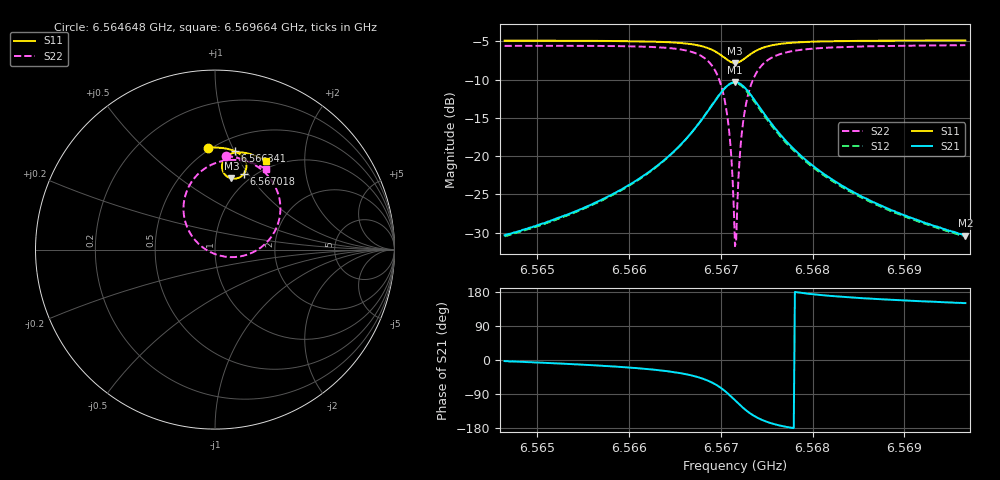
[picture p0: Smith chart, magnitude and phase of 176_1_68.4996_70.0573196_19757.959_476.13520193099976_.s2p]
#  HZ  S  RI  R  50.00
! Rohde & Schwarz Vector Network Analyzer
! Rohde-Schwarz,ZNB20-2Port,1311601062101988,3.16
! Created: UTC 3/20/2024, 5:11:38 PM
! freq[Hz]  re:S11  im:S11  re:S21  im:S21  re:S12  im:S12  re:S22  im:S22
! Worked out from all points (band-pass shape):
!   401 points, 6.564648 GHz to 6.569664 GHz, reference 50 ohm
!   highest |S21| = -10.33 dB at 6.567156 GHz (marker M1); lowest = -30.4 dB at 6.569664 GHz (marker M2)
!   |S21| within 3 dB of the highest: 6.566907 GHz to 6.567408 GHz (500.5 kHz wide, 0.00762 % of centre)
!   lowest |S11| = -7.8 dB at 6.567156 GHz (marker M3), VSWR 2.37, Z = 42.5 + j40.4 ohm
!   |S11| at or under -10 dB: nowhere
!   |S22| runs from -31.8 to -5.5 dB; largest |S21 - S12| = 0.015
!   S11 on the Smith chart (normalised r, x): 6.564648 GHz: 0.48, +0.81; 6.566341 GHz: 0.63, +1.01; 6.567018 GHz: 0.90, +0.95; 6.569664 GHz: 0.89, +1.31
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6.5646484e9  -0.0404 0.5678  0.0303 -0.00149  0.0297 -0.00202  0.0608 0.5227
6.5654885e9  0.0297 0.5669  0.0443 -0.00961  0.0436 -0.0102  0.1438 0.5062
6.5663287e9  0.1114 0.548  0.0787 -0.04  0.0775 -0.041  0.2639 0.4419
6.5663412e9  0.1128 0.5474  0.0795 -0.0411  0.0784 -0.042  0.2664 0.4399
6.5666171e9  0.1464 0.5256  0.1021 -0.0777  0.1006 -0.0792  0.3266 0.3678
6.5668177e9  0.1703 0.4902  0.1154 -0.1393  0.1127 -0.1422  0.3637 0.2491
6.5669306e9  0.1741 0.4553  0.1038 -0.2006  0.0985 -0.2045  0.3466 0.1323
6.5670184e9  0.16 0.4213  0.0624 -0.2588  0.0532 -0.2622  0.2704 0.0236
6.567056e9  0.1463 0.4081  0.0309 -0.2805  0.0197 -0.2825  0.2118 -0.015
6.5670936e9  0.1281 0.3986  -0.00888 -0.2947  -0.0219 -0.2941  0.1383 -0.0384
6.5671187e9  0.1139 0.3952  -0.0388 -0.2982  -0.0524 -0.2954  0.0841 -0.0418
6.5671438e9  0.0989 0.3953  -0.0696 -0.2957  -0.0832 -0.2905  0.0289 -0.0338
6.5671563e9  0.0915 0.3966  -0.085 -0.2922  -0.0981 -0.2857  0.00202 -0.0257
6.5671814e9  0.0773 0.4015  -0.1141 -0.2806  -0.1261 -0.2718  -0.0479 -0.00155
6.567219e9  0.0591 0.414  -0.151 -0.254  -0.1605 -0.2426  -0.1092 0.0505
6.5672441e9  0.0501 0.4249  -0.1697 -0.2322  -0.1771 -0.2199  -0.1387 0.0916
6.5672943e9  0.0401 0.4486  -0.1926 -0.1854  -0.1958 -0.1725  -0.1708 0.1768
6.567357e9  0.0397 0.4762  -0.1986 -0.1316  -0.1982 -0.1205  -0.172 0.2712
6.5675827e9  0.0779 0.5287  -0.1519 -0.0291  -0.1485 -0.0244  -0.0681 0.4435
6.5679965e9  0.1413 0.5423  -0.0866 0.00946  -0.0845 0.0108  0.0752 0.4987
6.5688367e9  0.2228 0.5235  -0.0421 0.016  -0.041 0.0162  0.2069 0.4832
6.5696643e9  0.2854 0.4942  -0.0262 0.015  -0.0257 0.0152  0.2835 0.4497
